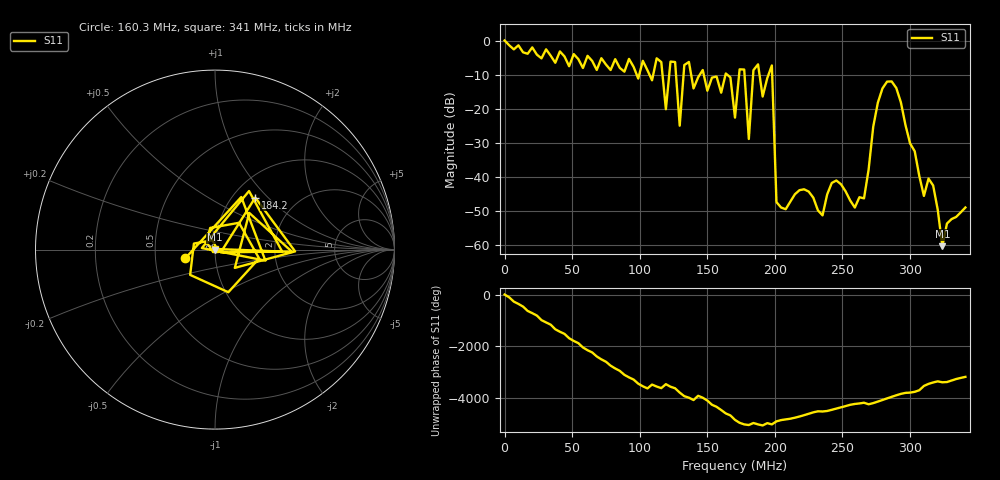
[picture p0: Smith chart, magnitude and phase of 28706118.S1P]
!File created by NanoVNA
# Hz S RI R 50
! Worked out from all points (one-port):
!   101 points, 50 kHz to 341 MHz, reference 50 ohm
!   lowest |S11| = -60.4 dB at 324 MHz (marker M1), VSWR 1.00, Z = 49.9 - j0.0213 ohm
!   |S11| at or under -10 dB: 138 MHz to 144.5 MHz (6.497 MHz wide, 4.6 % of centre); 147.4 MHz to 163.5 MHz (16.12 MHz wide, 10.4 % of centre); 198 MHz to end of sweep (the widest 3 of 10)
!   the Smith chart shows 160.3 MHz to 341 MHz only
!   S11 on the Smith chart (normalised r, x): 160.3 MHz: 0.71, -0.07; 184.2 MHz: 1.26, +0.85; 341 MHz: 1.01, +0.00
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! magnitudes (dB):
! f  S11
! 50 kHz  0.0
! 44.37 MHz  -4.7
! 85.29 MHz  -8.1
! 116 MHz  -6.3
! 119.4 MHz  -20.2
! 126.2 MHz  -6.3
! 129.6 MHz  -25.0
! 133 MHz  -7.2
! 160.3 MHz  -15.3
! 167.1 MHz  -10.8
! 170.5 MHz  -22.7
! 173.9 MHz  -8.5
! 177.3 MHz  -8.5
! 180.8 MHz  -28.9
! 184.2 MHz  -8.7
! 191 MHz  -16.5
! 197.8 MHz  -7.3
! 201.2 MHz  -47.5
! 214.8 MHz  -45.2
! 255.8 MHz  -47.0
! 266 MHz  -46.4
! 276.2 MHz  -18.3
! 283 MHz  -12.1
! 300.1 MHz  -30.2
! 310.3 MHz  -45.7
! 317.1 MHz  -42.6
! 324 MHz  -60.4
! 341 MHz  -49.1
